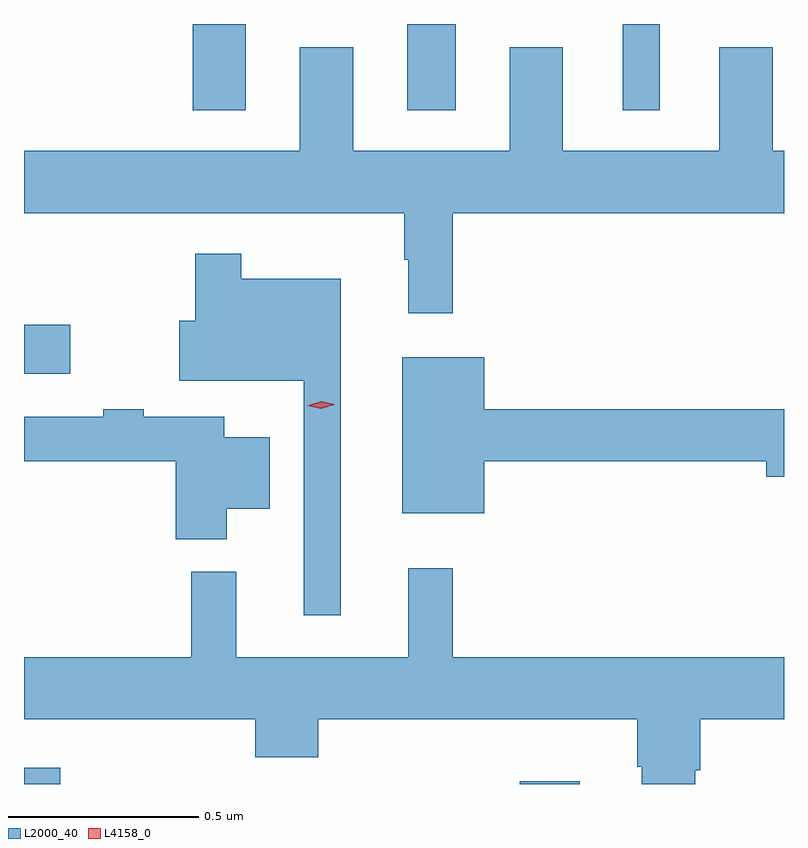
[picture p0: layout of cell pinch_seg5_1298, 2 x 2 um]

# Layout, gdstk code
import gdstk
lib = gdstk.Library(unit=1e-6, precision=1e-09)
def R(c, l, rs):  # rectangles x0, y0, x1, y1
    for r in rs: c.add(gdstk.rectangle(r[:2], r[2:], *l))
def P(c, l, *ps):  # polygons
    for p in ps: c.add(gdstk.Polygon(p, *l))
L2000_40 = (2000, 40)
L4158_0 = (4158, 0)

pinch_seg5_1298 = lib.new_cell('pinch_seg5_1298')
R(pinch_seg5_1298, L2000_40, [(461.537,864.582,461.632,864.625), (462.842,864.582,463,864.589), (461.537,865.661,461.659,865.791), (461.981,866.355,462.121,866.582), (462.545,866.355,462.673,866.582), (463.112,866.355,463.21,866.582)])
P(pinch_seg5_1298, L2000_40, [(462.665,866.084),(463.537,866.084),(463.537,866.248),(463.507,866.248),(463.507,866.521),(463.367,866.521),(463.367,866.248),(462.955,866.248),(462.955,866.521),(462.815,866.521),(462.815,866.248),(462.403,866.248),(462.403,866.521),(462.263,866.521),(462.263,866.248),(461.537,866.248),(461.537,866.084),(462.537,866.084),(462.537,865.961),(462.548,865.961),(462.548,865.821),(462.665,865.821)],
  [(462.37,865.912),(462.109,865.912),(462.109,865.978),(461.988,865.978),(461.988,865.801),(461.946,865.801),(461.946,865.643),(462.273,865.643),(462.273,865.026),(462.37,865.026)],
  [(462.748,865.432),(463.49,865.432),(463.49,865.39),(463.537,865.39),(463.537,865.568),(462.748,865.568),(462.748,865.705),(462.533,865.705),(462.533,865.295),(462.748,865.295)],
  [(462.07,865.307),(462.184,865.307),(462.184,865.495),(462.064,865.495),(462.064,865.548),(461.852,865.548),(461.852,865.568),(461.746,865.568),(461.746,865.548),(461.537,865.548),(461.537,865.432),(461.936,865.432),(461.936,865.226),(462.07,865.226)],
  [(462.095,865.141),(461.977,865.141),(461.977,864.916),(461.537,864.916),(461.537,864.752),(462.146,864.752),(462.146,864.653),(462.311,864.653),(462.311,864.752),(463.151,864.752),(463.151,864.628),(463.163,864.628),(463.163,864.582),(463.303,864.582),(463.303,864.618),(463.316,864.618),(463.316,864.752),(463.537,864.752),(463.537,864.916),(462.665,864.916),(462.665,865.15),(462.548,865.15),(462.548,864.916),(462.095,864.916)])
P(pinch_seg5_1298, L4158_0, [(462.319,865.569),(462.283,865.578),(462.283,865.578),(462.283,865.578),(462.319,865.589),(462.354,865.581),(462.355,865.58),(462.354,865.58)])

lib.write_gds('pinch_seg5_1298.gds')
